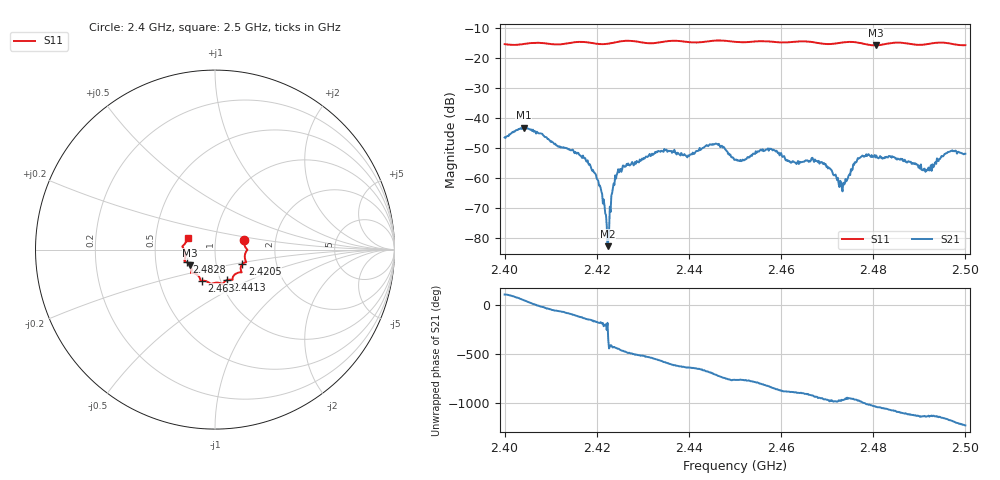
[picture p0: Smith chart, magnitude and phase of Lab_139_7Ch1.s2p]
# Hz S RI R 50
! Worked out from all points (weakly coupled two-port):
!   601 points, 2.4 GHz to 2.5 GHz, reference 50 ohm
!   highest |S21| = -43.26 dB at 2.4042 GHz (marker M1); lowest = -82.8 dB at 2.4223 GHz (marker M2)
!   lowest |S11| = -15.7 dB at 2.4805 GHz (marker M3), VSWR 1.39, Z = 37.3 - j6.69 ohm
!   |S11| at or under -10 dB: start of sweep to end of sweep
!   S12 and S22 are empty: the file has one direction only
!   S11 on the Smith chart (normalised r, x): 2.4 GHz: 1.38, +0.15; 2.4205 GHz: 1.34, -0.22; 2.4413 GHz: 1.08, -0.38; 2.463 GHz: 0.82, -0.29; 2.4828 GHz: 0.72, -0.10; 2.5 GHz: 0.73, +0.10
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2.4e9  0.1632 0.0525  -0.0014 0.00453  0 0  0 0
2.404167e9  0.1721 0.00876  0.00447 0.00521  0 0  0 0
2.416667e9  0.1734 -0.0698  -0.00132 -0.00184  0 0  0 0
2.4205e9  0.152 -0.0809  -0.000744 1.61e-05  0 0  0 0
2.422333e9  0.1438 -0.0979  -7.27e-05 4.17e-09  0 0  0 0
2.423667e9  0.1433 -0.1115  0.000318 -0.000742  0 0  0 0
2.4245e9  0.145 -0.1184  0.000141 -0.00122  0 0  0 0
2.433333e9  0.1004 -0.1515  -0.00268 0.000928  0 0  0 0
2.441333e9  0.0675 -0.1696  0.000546 0.00259  0 0  0 0
2.446e9  0.0418 -0.1927  0.00368 0.000545  0 0  0 0
2.45e9  0.0246 -0.1856  0.00151 -0.00131  0 0  0 0
2.4575e9  -0.0279 -0.1875  -0.000978 -0.00292  0 0  0 0
2.463e9  -0.0719 -0.1736  -0.00178 -0.000397  0 0  0 0
2.466667e9  -0.0815 -0.1674  -0.00206 0.000657  0 0  0 0
2.473167e9  -0.1275 -0.1302  -0.000319 0.000617  0 0  0 0
2.477167e9  -0.131 -0.122  -0.000399 0.00216  0 0  0 0
2.4805e9  -0.1383 -0.0871  0.00151 0.00159  0 0  0 0
2.482833e9  -0.1585 -0.0699  0.00202 0.000999  0 0  0 0
2.483333e9  -0.1623 -0.0682  0.00219 0.000743  0 0  0 0
2.491333e9  -0.1696 -0.00562  0.000752 -0.00102  0 0  0 0
2.496667e9  -0.1734 0.0267  -1.97e-05 -0.00275  0 0  0 0
2.5e9  -0.152 0.0638  -0.00205 -0.00149  0 0  0 0
